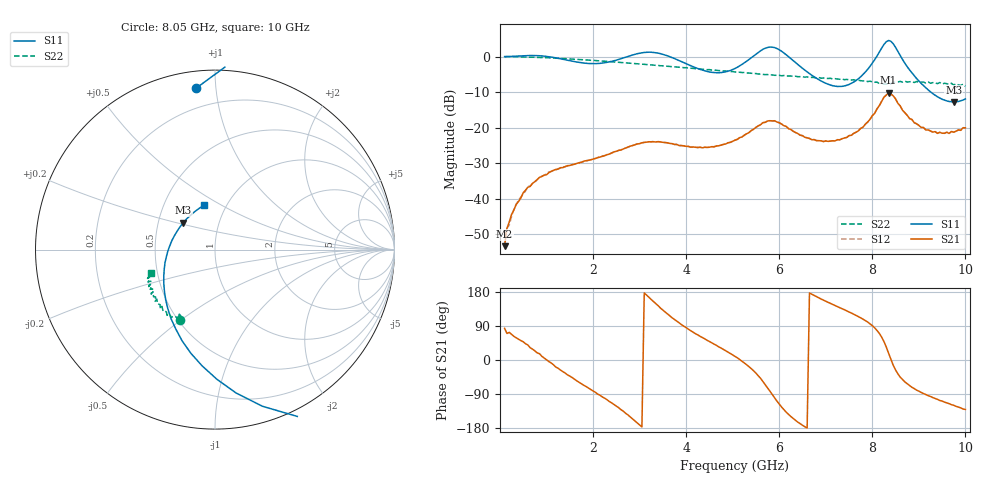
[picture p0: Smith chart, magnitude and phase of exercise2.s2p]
!Keysight Technologies,P9373A,MY57211790,A.19.30.04
!Date: Friday, April 24, 2026 15:10:12
!Correction: S11(C  2-Port  )
!S21(C  2-Port  )
!S12(C  2-Port  )
!S22(C  2-Port  )
!S2P File: Measurements: S11, S21, S12, S22:
# Hz S  dB  R 50
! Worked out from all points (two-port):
!   199 points, 100 MHz to 10 GHz, reference 50 ohm
!   highest |S21| = -10.15 dB at 8.35 GHz (marker M1); lowest = -53.3 dB at 100 MHz (marker M2)
!   |S21| within 3 dB of the highest: 8.176 GHz to 8.552 GHz (375.9 MHz wide, 4.49 % of centre)
!   lowest |S11| = -12.7 dB at 9.75 GHz (marker M3), VSWR 1.60, Z = 33.7 + j10.6 ohm
!   |S11| at or under -10 dB: 9.261 GHz to end of sweep
!   |S22| runs from -8.3 to 0.0 dB; largest |S21 - S12| = 0.0027
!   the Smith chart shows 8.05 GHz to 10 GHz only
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1e8  0.02 -17.3  -53.29 83.4  -52.93 90.7  0.00 -0.3
5.5e8  0.30 -95.6  -37.54 43.0  -37.79 41.1  -0.08 -1.9
1e9  0.08 -174.2  -33.21 0.7  -32.85 0.4  -0.31 -4.2
1.4e9  -0.85 118.1  -30.91 -34.3  -30.99 -35.2  -0.55 -6.0
1.75e9  -1.71 60.5  -29.69 -63.0  -29.67 -63.6  -0.83 -8.9
2.25e9  -1.72 -23.0  -27.84 -100.9  -27.79 -101.5  -1.27 -13.1
2.7e9  -0.14 -100.1  -25.67 -140.6  -25.69 -139.9  -1.75 -17.7
3.1e9  1.19 -171.6  -24.09 176.7  -24.14 177.2  -2.16 -22.3
3.4e9  1.00 134.6  -23.88 143.1  -23.92 142.3  -2.48 -25.3
4.1e9  -2.55 24.9  -25.45 77.2  -25.41 76.8  -3.25 -36.3
5.05e9  -3.32 -123.8  -23.47 9.4  -23.43 9.1  -4.31 -53.0
5.5e9  0.72 157.6  -19.88 -34.7  -19.87 -34.9  -4.74 -60.1
5.8e9  2.71 92.3  -18.00 -82.1  -18.01 -82.6  -5.16 -67.0
6.1e9  1.06 27.5  -19.41 -130.9  -19.32 -131.1  -5.29 -71.8
6.7e9  -5.22 -61.5  -23.35 173.6  -23.30 173.4  -5.81 -85.0
7.9e9  -3.56 122.1  -18.40 100.3  -18.37 99.8  -7.01 -113.3
8.2e9  2.39 63.2  -12.58 60.5  -12.56 60.0  -7.41 -118.1
8.35e9  4.56 12.2  -10.15 17.7  -10.13 17.4  -7.58 -117.1
8.55e9  1.48 -52.8  -13.12 -36.6  -13.11 -37.1  -7.10 -122.3
8.9e9  -5.34 -109.8  -18.54 -75.4  -18.56 -75.9  -7.26 -133.1
9.75e9  -12.73 139.6  -21.23 -119.5  -21.20 -120.0  -7.98 -153.8
1e10  -11.88 104.5  -20.01 -130.5  -20.00 -131.1  -8.34 -159.7
